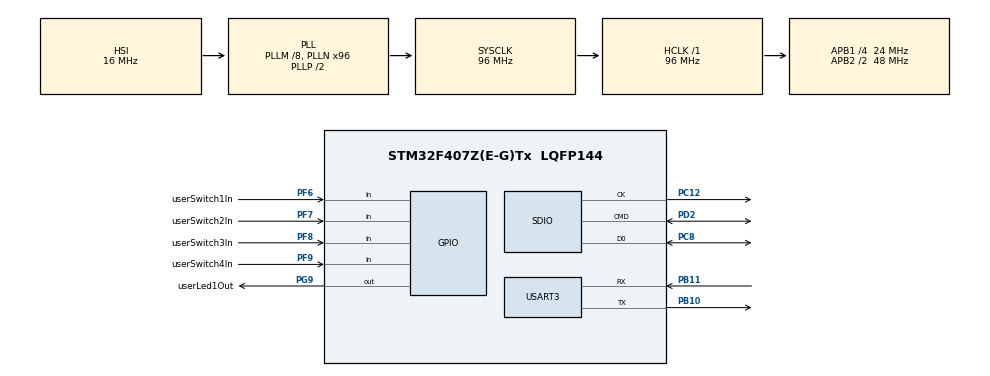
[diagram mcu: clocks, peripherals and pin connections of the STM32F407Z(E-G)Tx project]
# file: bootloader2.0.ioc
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FATFS._MAX_SS=4096
FATFS._USE_LFN=1
Mcu.Family=STM32F4
Mcu.Name=STM32F407Z(E-G)Tx
Mcu.Package=LQFP144
NVIC.PriorityGroup=NVIC_PRIORITYGROUP_4
PB10.Mode=Asynchronous
PB10.Signal=USART3_TX
PB11.Mode=Asynchronous
PB11.Signal=USART3_RX
PC12.Mode=SD_1_bit
PC12.Signal=SDIO_CK
PC8.Mode=SD_1_bit
PC8.Signal=SDIO_D0
PD2.Mode=SD_1_bit
PD2.Signal=SDIO_CMD
PF6.GPIO_Label=userSwitch1In
PF6.GPIO_PuPd=GPIO_PULLUP
PF6.Signal=GPIO_Input
PF7.GPIO_Label=userSwitch2In
PF7.GPIO_PuPd=GPIO_PULLUP
PF7.Signal=GPIO_Input
PF8.GPIO_Label=userSwitch3In
PF8.GPIO_PuPd=GPIO_PULLUP
PF8.Signal=GPIO_Input
PF9.GPIO_Label=userSwitch4In
PF9.GPIO_PuPd=GPIO_PULLUP
PF9.Signal=GPIO_Input
PG9.GPIO_Label=userLed1Out
PG9.Signal=GPIO_Output
ProjectManager.HeapSize=0x200
ProjectManager.StackSize=0x400
ProjectManager.TargetToolchain=STM32CubeIDE
RCC.48MHZClocksFreq_Value=48000000
RCC.AHBFreq_Value=96000000
RCC.APB1CLKDivider=RCC_HCLK_DIV4
RCC.APB1Freq_Value=24000000
RCC.APB1TimFreq_Value=48000000
RCC.APB2CLKDivider=RCC_HCLK_DIV2
RCC.APB2Freq_Value=48000000
RCC.APB2TimFreq_Value=96000000
RCC.CortexFreq_Value=96000000
RCC.HCLKFreq_Value=96000000
RCC.HSE_VALUE=25000000
RCC.HSI_VALUE=16000000
RCC.LSE_VALUE=32768
RCC.PLLM=8
RCC.PLLN=96
RCC.SYSCLKFreq_VALUE=96000000
RCC.SYSCLKSource=RCC_SYSCLKSOURCE_PLLCLK
RCC.VCOOutputFreq_Value=192000000
SDIO.ClockDiv=1
USART3.VirtualMode=VM_ASYNC
VP_FATFS_VS_SDIO.Mode=SDIO
board=custom

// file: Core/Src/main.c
/* USER CODE BEGIN Header */
/**
 ******************************************************************************
 * @file           : main.c
 * @brief          : Main program body
 ******************************************************************************
 * @attention
 *
 * Copyright (c) 2024 STMicroelectronics.
 * All rights reserved.
 *
 * This software is licensed under terms that can be found in the LICENSE file
 * in the root directory of this software component.
 * If no LICENSE file comes with this software, it is provided AS-IS.
 *
 ******************************************************************************
 */
/* USER CODE END Header */
#include "main.h"
#include "fatfs.h"
#include "sdio.h"
#include "usart.h"
#include "gpio.h"

/* USER CODE BEGIN Includes */
#include "string.h"
/* USER CODE END Includes */

/* USER CODE BEGIN PTD */
typedef enum {
	Action_None,
	Action_Update_App1,
	Action_Update_App2,
	Action_Run_App1,
	Action_Run_App2
} ActionType;

typedef struct {
	uint32_t slot0;
	uint32_t slot1;
} slotAddress;

typedef struct {
	uint8_t pin1State;
	uint8_t pin2State;
	uint8_t pin3State;
	uint8_t pin4State;
} pinState;
/* USER CODE END PTD */

/* USER CODE BEGIN PD */
#define slot0Addr 0x08040000
#define slot1Addr 0x08080000

#define bufferSize 1024

#define userSwitch1InRead HAL_GPIO_ReadPin(userSwitch1In_GPIO_Port, userSwitch1In_Pin)
#define userSwitch2InRead HAL_GPIO_ReadPin(userSwitch2In_GPIO_Port, userSwitch2In_Pin)
#define userSwitch3InRead HAL_GPIO_ReadPin(userSwitch3In_GPIO_Port, userSwitch3In_Pin)
#define userSwitch4InRead HAL_GPIO_ReadPin(userSwitch4In_GPIO_Port, userSwitch4In_Pin)
/* USER CODE END PD */

/* USER CODE BEGIN PV */
FATFS fatfs;
FIL fil;
FRESULT fres;
FILINFO info;

ActionType currentAction = Action_None;
slotAddress currentAddress;
pinState button;

uint8_t readBuffer[bufferSize];
UINT bytesRead;
/* USER CODE END PV */

void SystemClock_Config(void);
/* USER CODE BEGIN PFP */
static void gotoApp1(void);
static void gotoApp2(void);
/* USER CODE END PFP */

/* USER CODE BEGIN 0 */
void sendData(char *msg) {
	while (*msg != '\0') {
		HAL_UART_Transmit(&huart3, (uint8_t*) msg, 1, 1000);
		msg++;
	}
}

void flashErase(uint8_t slotNum) {
	FLASH_EraseInitTypeDef flashErase;
	HAL_StatusTypeDef ret;
	uint32_t sectorError;

	HAL_FLASH_Unlock();

	/* Check if the FLASH_FLAG_BSY */
	FLASH_WaitForLastOperation(HAL_MAX_DELAY);

	/* Clear all flags before write it to flash */
	__HAL_FLASH_CLEAR_FLAG(
			FLASH_FLAG_EOP | FLASH_FLAG_OPERR | FLASH_FLAG_WRPERR | FLASH_FLAG_PGAERR | FLASH_FLAG_PGPERR | FLASH_FLAG_PGSERR);

	if (slotNum == 0) {
			sendData("Erasing the Slot0 Flash memory...\r\n");
				flashErase.TypeErase = FLASH_TYPEERASE_SECTORS;
				flashErase.Sector = FLASH_SECTOR_5;
				flashErase.NbSectors = 2;
				flashErase.VoltageRange = FLASH_VOLTAGE_RANGE_3;
			} else {
			sendData("Erasing the Slot1 Flash memory...\r\n");
				flashErase.TypeErase = FLASH_TYPEERASE_SECTORS;
				flashErase.Sector = FLASH_SECTOR_7;
				flashErase.NbSectors = 2;
				flashErase.VoltageRange = FLASH_VOLTAGE_RANGE_3;
		}

	ret = HAL_FLASHEx_Erase(&flashErase, &sectorError);
	if (ret != HAL_OK) {
		sendData("Flash erase Error!\r\n");

	} else {
		sendData("Flash erase Successfull...!\r\n");
	}
}

void flashProgram(void) {
	uint32_t programBytesToRead = info.fsize;

	switch (currentAction) {
	case (Action_Update_App1):
		sendData("/-----Application 1 update Start-----/\r\n");
		currentAddress.slot0 = slot0Addr;
		while (programBytesToRead > 0) {
			// Read up to 512 bytes from the file
			fres = f_read(&fil, readBuffer, bufferSize, &bytesRead);

			// Write the data into flash memory, 4 bytes at a time
			for (uint32_t i = 0; i < bytesRead; i += 4) {
				HAL_FLASH_Program(FLASH_TYPEPROGRAM_WORD, currentAddress.slot0,
						*(uint32_t*) &readBuffer[i]);
				currentAddress.slot0 += 4;
			}

			programBytesToRead -= bytesRead;
		}

		sendData(
				"/-----Application1.bin Read & Write Successfull in Slot0-----/\r\n");
		HAL_FLASH_Lock();
		currentAction = Action_None;
		memset(readBuffer, '\0', bufferSize); // clear buffer
		sendData("/-----Application 1 updated Successfully-----/\r\n");
		break;

	case (Action_Update_App2):
		sendData("/-----Application 2 update Start-----/\r\n");
		currentAddress.slot1 = slot1Addr;
		while (programBytesToRead > 0) {
			// Read up to 1024 bytes from the file
			fres = f_read(&fil, readBuffer, bufferSize, &bytesRead);

			// Write the data into flash memory, 4 bytes at a time
			for (uint32_t i = 0; i < bytesRead; i += 4) {
				HAL_FLASH_Program(FLASH_TYPEPROGRAM_WORD, currentAddress.slot1,
						*(uint32_t*) &readBuffer[i]);
				currentAddress.slot1 += 4;
			}

			programBytesToRead -= bytesRead;
		}

		sendData(
				"/-----Application2.bin Read & Write Successfull in Slot1-----/\r\n");
		HAL_FLASH_Lock();
		currentAction = Action_None;
		memset(readBuffer, '\0', bufferSize); //clear buffer
		sendData("/-----Application 2 updated Successfully-----/\r\n");
		break;

	case (Action_Run_App1):
		gotoApp1();
		break;

	case (Action_Run_App2):
		gotoApp2();
		break;

	default:
		break;

	}

}
/* USER CODE END 0 */

int main(void) {

	/* MCU Configuration--------------------------------------------------------*/

	/* Reset of all peripherals, Initializes the Flash interface and the Systick. */
	HAL_Init();

	/* Configure the system clock */
	SystemClock_Config();

	/* Initialize all configured peripherals */
	MX_GPIO_Init();
	MX_SDIO_SD_Init();
	MX_USART3_UART_Init();
	MX_FATFS_Init();
	/* USER CODE BEGIN 2 */
	sendData("/---------------Starting Bootloader v2.0---------------/\r\n");

	HAL_GPIO_WritePin(userLed1Out_GPIO_Port, userLed1Out_Pin, GPIO_PIN_RESET);
	if ((fres = f_mount(&fatfs, "0:/", 0)) != FR_OK) {
		sendData("Sdcard mounting unsuccessfull...!\r\n");
	} else {
		sendData("Sdcard mounting successfull...!\r\n");
		sendData("Pressed User Switch to create action...!\r\n");
		HAL_Delay(1000);
		button.pin1State = userSwitch1InRead;
		button.pin2State = userSwitch2InRead;
		button.pin3State = userSwitch3InRead;
		button.pin4State = userSwitch4InRead;

		/* Check which button is Pressed */
		if (button.pin1State == GPIO_PIN_RESET) {
			currentAction = Action_Update_App1;

			/* Open applicatio1.bin file */
			if ((fres = f_open(&fil, "0:/application1.bin",
			FA_READ | FA_OPEN_ALWAYS)) != FR_OK) {
				sendData("application1.bin file open unsuccessfull...!\r\n");
			} else {
				sendData("application1.bin file open successfull...!\r\n");

				f_stat("0:/application1.bin", &info);
				flashErase(0); // clear Slot0
				flashProgram(); // call flash function

				if ((fres = f_close(&fil)) != FR_OK) {
					sendData(
							"application1.bin file close unsuccessfull...!\r\n");
				} else {
					sendData("application1.bin file close successfull...!\r\n");
				}
			}
		} else if (button.pin2State == GPIO_PIN_RESET) {
			currentAction = Action_Update_App2;

			/* Open applicatio2.bin file */
			if ((fres = f_open(&fil, "0:/application2.bin",
			FA_READ | FA_OPEN_ALWAYS)) != FR_OK) {
				sendData("application2.bin file open unsuccessfull...!\r\n");
			} else {
				sendData("application2.bin file open successfull...!\r\n");

				f_stat("0:/application2.bin", &info);
				flashErase(1); // clear Slot1
				flashProgram(); // call flash function

				if ((fres = f_close(&fil)) != FR_OK) {
					sendData(
							"application2.bin file close unsuccessfull...!\r\n");
				} else {
					sendData("application2.bin file close successfull...!\r\n");
				}
			}
		} else if (button.pin3State == GPIO_PIN_RESET) {
			currentAction = Action_Run_App1;
			flashProgram(); // call flash function
		} else if (button.pin4State == GPIO_PIN_RESET) {
			currentAction = Action_Run_App2;
			flashProgram(); // call flash function
		}
	}
	/* USER CODE END 2 */

	/* Infinite loop */
	while (1) {

	}
}

void SystemClock_Config(void) {
	RCC_OscInitTypeDef RCC_OscInitStruct = { 0 };
	RCC_ClkInitTypeDef RCC_ClkInitStruct = { 0 };

	/** Configure the main internal regulator output voltage
	 */
	__HAL_RCC_PWR_CLK_ENABLE();
	__HAL_PWR_VOLTAGESCALING_CONFIG(PWR_REGULATOR_VOLTAGE_SCALE1);

	/** Initializes the RCC Oscillators according to the specified parameters
	 * in the RCC_OscInitTypeDef structure.
	 */
	RCC_OscInitStruct.OscillatorType = RCC_OSCILLATORTYPE_HSI;
	RCC_OscInitStruct.HSIState = RCC_HSI_ON;
	RCC_OscInitStruct.HSICalibrationValue = RCC_HSICALIBRATION_DEFAULT;
	RCC_OscInitStruct.PLL.PLLState = RCC_PLL_ON;
	RCC_OscInitStruct.PLL.PLLSource = RCC_PLLSOURCE_HSI;
	RCC_OscInitStruct.PLL.PLLM = 8;
	RCC_OscInitStruct.PLL.PLLN = 96;
	RCC_OscInitStruct.PLL.PLLP = RCC_PLLP_DIV2;
	RCC_OscInitStruct.PLL.PLLQ = 4;
	if (HAL_RCC_OscConfig(&RCC_OscInitStruct) != HAL_OK) {
		Error_Handler();
	}

	/** Initializes the CPU, AHB and APB buses clocks
	 */
	RCC_ClkInitStruct.ClockType = RCC_CLOCKTYPE_HCLK | RCC_CLOCKTYPE_SYSCLK
			| RCC_CLOCKTYPE_PCLK1 | RCC_CLOCKTYPE_PCLK2;
	RCC_ClkInitStruct.SYSCLKSource = RCC_SYSCLKSOURCE_PLLCLK;
	RCC_ClkInitStruct.AHBCLKDivider = RCC_SYSCLK_DIV1;
	RCC_ClkInitStruct.APB1CLKDivider = RCC_HCLK_DIV4;
	RCC_ClkInitStruct.APB2CLKDivider = RCC_HCLK_DIV2;

	if (HAL_RCC_ClockConfig(&RCC_ClkInitStruct, FLASH_LATENCY_3) != HAL_OK) {
		Error_Handler();
	}
}

/* USER CODE BEGIN 4 */
static void gotoApp1(void) {
	sendData("Jump to the Application 1...\r\n");

	void (*appResetHandler)(
			void) = (void*) (*((volatile uint32_t*)(slot0Addr + 4U)));

	HAL_GPIO_WritePin(userLed1Out_GPIO_Port, userLed1Out_Pin, GPIO_PIN_SET);

	HAL_RCC_DeInit();
	HAL_DeInit();
	SysTick->CTRL = 0;
	SysTick->LOAD = 0;
	SysTick->VAL = 0;

	__set_MSP(*(volatile uint32_t*) slot0Addr);

//	Jump to the Application
	appResetHandler(); // call Application reset handler
}

static void gotoApp2(void) {
	sendData("Jump to the Application 2...\r\n");

	void (*appResetHandler)(
			void) = (void*) (*((volatile uint32_t*)(slot1Addr + 4U)));

	HAL_GPIO_WritePin(userLed1Out_GPIO_Port, userLed1Out_Pin, GPIO_PIN_SET);

	HAL_RCC_DeInit();
	HAL_DeInit();
	SysTick->CTRL = 0;
	SysTick->LOAD = 0;
	SysTick->VAL = 0;

	__set_MSP(*(volatile uint32_t*) slot1Addr);

//	Jump to the Application
	appResetHandler(); // call Application reset handler
}
/* USER CODE END 4 */

void Error_Handler(void) {
	__disable_irq();
	while (1) {
	}
}
